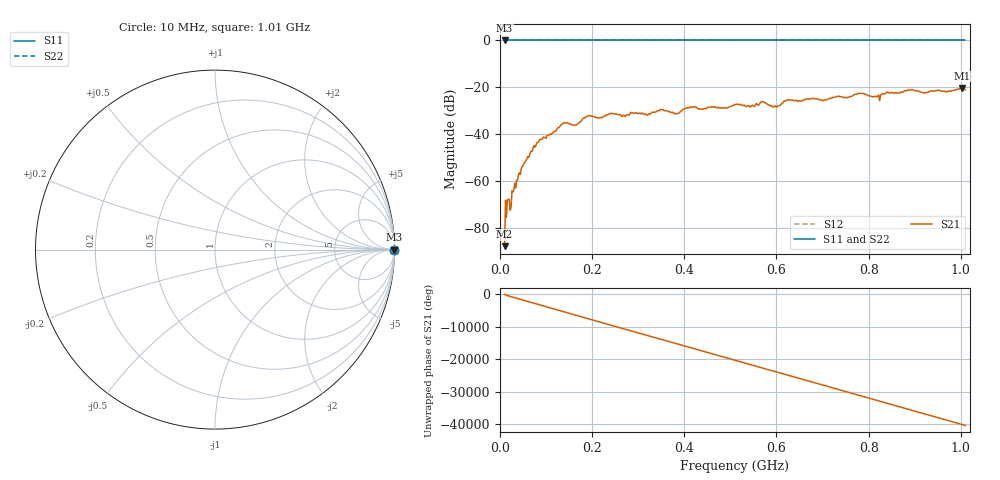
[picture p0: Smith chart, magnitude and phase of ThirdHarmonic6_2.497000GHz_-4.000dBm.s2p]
! 8/17/2025 4:45:43 AM
! C:\ANRITSUVNA\TEMP\TEMP.S2P
! CHANNEL.1
! TR.MEASUREMENT
! RAW.DATA
! RF.CORRECTION.OFF
! AVERAGING.OFF
! IF.BANDWIDTH: 5KHZ
! SWEEPTYPE:  FREQ.SWEEP(Linear)
! Reference Plane Port Info
! PORT:  PORT1  PORT2
! DISTANCE:  0  m  0  m
! TIME:  0  s  0  s
! PHASE.OFFSET:  0  deg.  0  deg.
! LOSS:  0  dB  0  dB
! REF.LOSS:  0  dB  0  dB
! REF.FREQ:  0  Hz  0  Hz
! Power Info
! POWER:  -20  dBm  -20  dBm
! EFF.POWER:  -20  dBm  -20  dBm
! SOURCE.ATTEN:  0  dB  0  dB
! TEST.ATTEN:  0  dB  0  dB
# GHZ S RI R 50.0
! FREQ.GHZ  S11RE  S11IM  S21RE  S21IM  S12RE  S12IM  S22RE  S22IM
!; PortSelection: Port_12
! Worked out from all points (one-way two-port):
!   501 points, 10 MHz to 1.01 GHz, reference 50 ohm
!   highest |S21| = -20.30 dB at 1.002 GHz (marker M1); lowest = -87.8 dB at 10 MHz (marker M2)
!   lowest |S11| = 0.0 dB at 10 MHz (marker M3)
!   |S11| at or under -10 dB: nowhere
!   |S22| runs from 0.0 to 0.0 dB; largest |S21 - S12| = 1.1
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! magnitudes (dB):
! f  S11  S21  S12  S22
! 10 MHz  0.0  -87.8  0.0  0.0
! 16 MHz  0.0  -67.9  0.0  0.0
! 26 MHz  0.0  -64.2  0.0  0.0
! 30 MHz  0.0  -64.1  0.0  0.0
! 44 MHz  0.0  -57.2  0.0  0.0
! 76 MHz  0.0  -45.6  0.0  0.0
! 136 MHz  0.0  -35.6  0.0  0.0
! 162 MHz  0.0  -36.1  0.0  0.0
! 178 MHz  0.0  -33.8  0.0  0.0
! 344 MHz  0.0  -30.0  0.0  0.0
! 384 MHz  0.0  -31.3  0.0  0.0
! 416 MHz  0.0  -28.6  0.0  0.0
! 510 MHz  0.0  -27.4  0.0  0.0
! 570 MHz  0.0  -26.1  0.0  0.0
! 596 MHz  0.0  -27.9  0.0  0.0
! 624 MHz  0.0  -25.4  0.0  0.0
! 678 MHz  0.0  -24.8  0.0  0.0
! 782 MHz  0.0  -22.6  0.0  0.0
! 820 MHz  0.0  -23.7  0.0  0.0
! 844 MHz  0.0  -22.4  0.0  0.0
! 1.002 GHz  0.0  -20.3  0.0  0.0
! 1.01 GHz  0.0  -21.0  0.0  0.0
